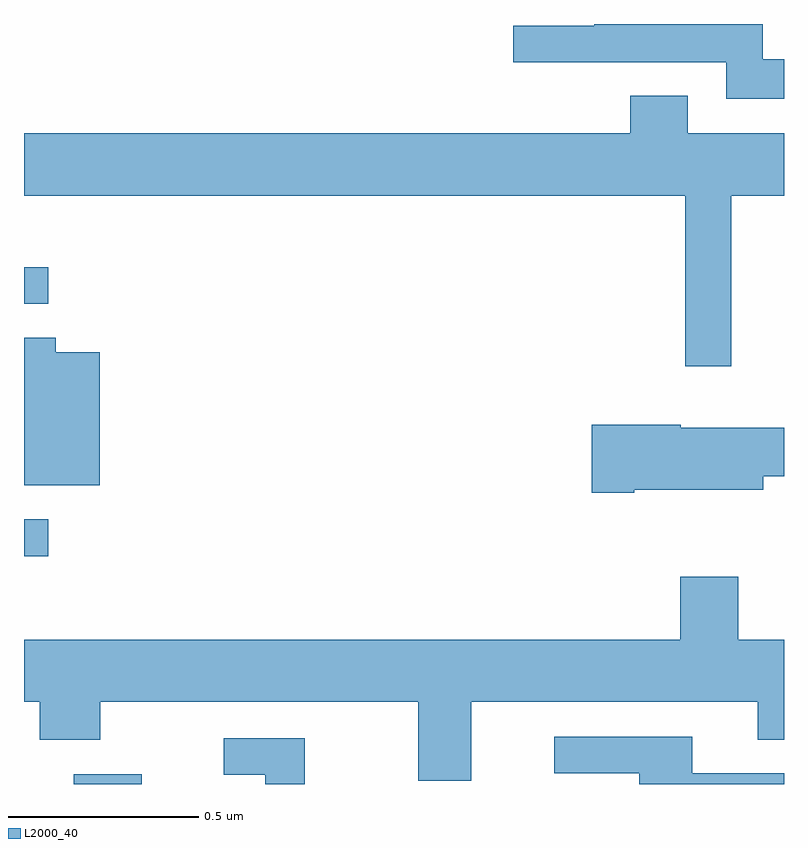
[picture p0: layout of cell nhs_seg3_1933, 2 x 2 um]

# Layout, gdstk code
import gdstk
lib = gdstk.Library(unit=1e-6, precision=1e-09)
def R(c, l, rs):  # rectangles x0, y0, x1, y1
    for r in rs: c.add(gdstk.rectangle(r[:2], r[2:], *l))
def P(c, l, *ps):  # polygons
    for p in ps: c.add(gdstk.Polygon(p, *l))
L2000_40 = (2000, 40)

nhs_seg3_1933 = lib.new_cell('nhs_seg3_1933')
R(nhs_seg3_1933, L2000_40, [(135.131,667.4,135.31,667.426), (135,667.999,135.064,668.097), (135,668.664,135.064,668.76)])
P(nhs_seg3_1933, L2000_40, [(137,669.307),(136.944,669.307),(136.944,669.4),(136.5,669.4),(136.5,669.396),(136.287,669.396),(136.287,669.3),(136.848,669.3),(136.848,669.203),(137,669.203)],
  [(136.861,668.948),(137,668.948),(137,669.112),(136.747,669.112),(136.747,669.211),(136.595,669.211),(136.595,669.112),(135,669.112),(135,668.948),(136.74,668.948),(136.74,668.499),(136.861,668.499)],
  [(135.199,668.536),(135.083,668.536),(135.083,668.575),(135,668.575),(135,668.186),(135.199,668.186)],
  [(136.606,668.174),(136.945,668.174),(136.945,668.21),(137,668.21),(137,668.338),(136.728,668.338),(136.728,668.345),(136.494,668.345),(136.494,668.167),(136.606,668.167)],
  [(136.177,667.616),(136.931,667.616),(136.931,667.517),(137,667.517),(137,667.78),(136.879,667.78),(136.879,667.945),(136.727,667.945),(136.727,667.78),(135,667.78),(135,667.616),(135.041,667.616),(135.041,667.517),(135.201,667.517),(135.201,667.616),(136.037,667.616),(136.037,667.408),(136.177,667.408)],
  [(137,667.428),(136.759,667.428),(136.759,667.524),(136.395,667.524),(136.395,667.428),(136.619,667.428),(136.619,667.4),(137,667.4)],
  [(135.739,667.521),(135.525,667.521),(135.525,667.425),(135.635,667.425),(135.635,667.4),(135.739,667.4)])

lib.write_gds('nhs_seg3_1933.gds')
